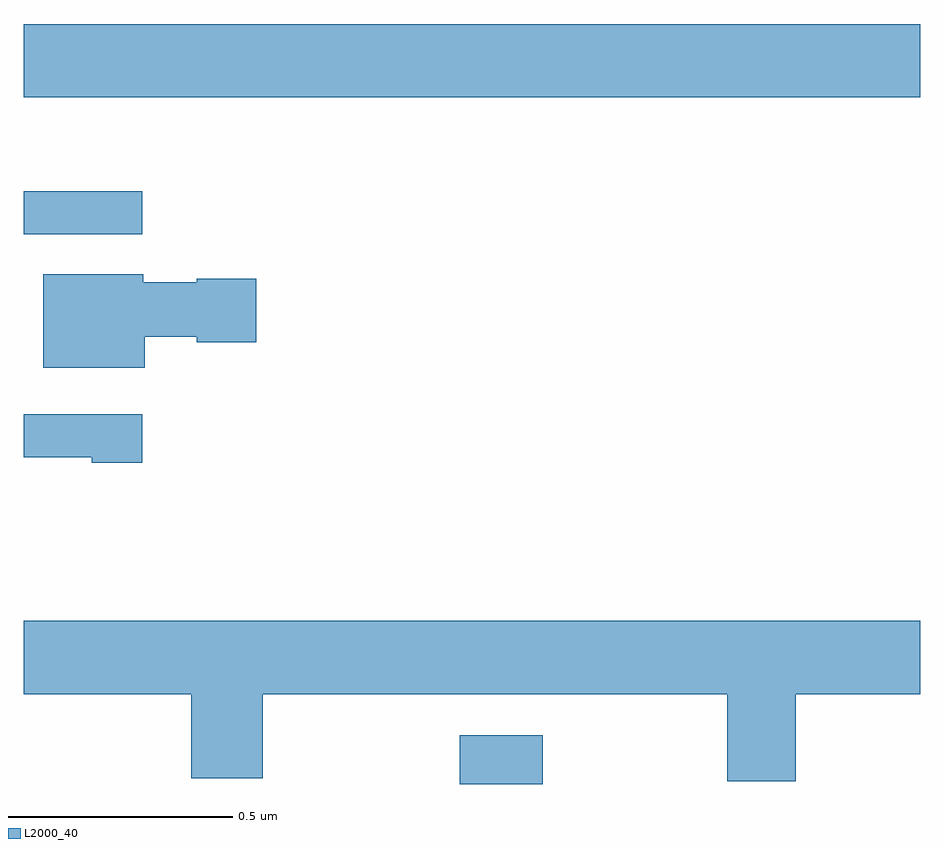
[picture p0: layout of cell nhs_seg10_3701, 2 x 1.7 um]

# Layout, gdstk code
import gdstk
lib = gdstk.Library(unit=1e-6, precision=1e-09)
def R(c, l, rs):  # rectangles x0, y0, x1, y1
    for r in rs: c.add(gdstk.rectangle(r[:2], r[2:], *l))
def P(c, l, *ps):  # polygons
    for p in ps: c.add(gdstk.Polygon(p, *l))
L2000_40 = (2000, 40)

nhs_seg10_3701 = lib.new_cell('nhs_seg10_3701')
R(nhs_seg10_3701, L2000_40, [(157.973,1249.5,158.158,1249.609), (157,1250.727,157.264,1250.823), (157,1251.032,159,1251.196)])
P(nhs_seg10_3701, L2000_40, [(157.27,1250.498),(157.386,1250.498),(157.386,1250.486),(157.519,1250.486),(157.519,1250.628),(157.386,1250.628),(157.386,1250.62),(157.266,1250.62),(157.266,1250.638),(157.043,1250.638),(157.043,1250.429),(157.27,1250.429)],
  [(157.264,1250.325),(157,1250.325),(157,1250.229),(157.151,1250.229),(157.151,1250.217),(157.264,1250.217)],
  [(158.723,1249.7),(159,1249.7),(159,1249.864),(157,1249.864),(157,1249.7),(157.373,1249.7),(157.373,1249.513),(157.533,1249.513),(157.533,1249.7),(158.57,1249.7),(158.57,1249.506),(158.723,1249.506)])

lib.write_gds('nhs_seg10_3701.gds')
